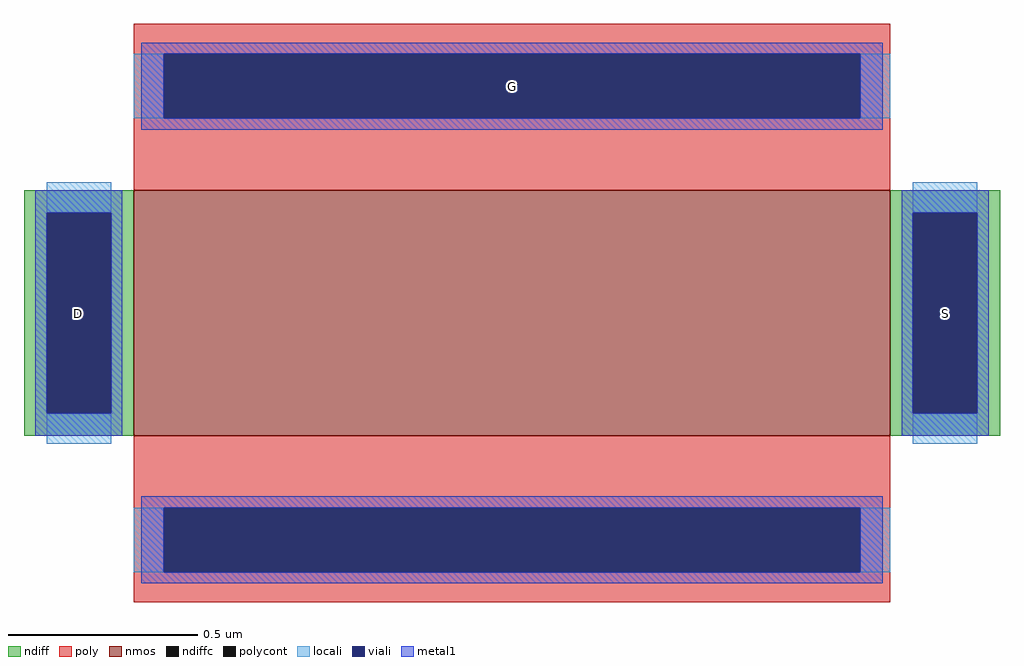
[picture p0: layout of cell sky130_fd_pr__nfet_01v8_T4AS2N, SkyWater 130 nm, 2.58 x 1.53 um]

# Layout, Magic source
magic
tech sky130A
magscale 1 2
<< nmos >>
rect -200 -65 200 65
<< ndiff >>
rect -258 53 -200 65
rect -258 -53 -246 53
rect -212 -53 -200 53
rect -258 -65 -200 -53
rect 200 53 258 65
rect 200 -53 212 53
rect 246 -53 258 53
rect 200 -65 258 -53
<< ndiffc >>
rect -246 -53 -212 53
rect 212 -53 246 53
<< poly >>
rect -200 137 200 153
rect -200 103 -184 137
rect 184 103 200 137
rect -200 65 200 103
rect -200 -103 200 -65
rect -200 -137 -184 -103
rect 184 -137 200 -103
rect -200 -153 200 -137
<< polycont >>
rect -184 103 184 137
rect -184 -137 184 -103
<< locali >>
rect -200 103 -184 137
rect 184 103 200 137
rect -246 53 -212 69
rect -246 -69 -212 -53
rect 212 53 246 69
rect 212 -69 246 -53
rect -200 -137 -184 -103
rect 184 -137 200 -103
<< viali >>
rect -184 103 184 137
rect -246 -53 -212 53
rect 212 -53 246 53
rect -184 -137 184 -103
<< metal1 >>
rect -196 137 196 143
rect -196 103 -184 137
rect 184 103 196 137
rect -196 97 196 103
rect -252 53 -206 65
rect -252 -53 -246 53
rect -212 -53 -206 53
rect -252 -65 -206 -53
rect 206 53 252 65
rect 206 -53 212 53
rect 246 -53 252 53
rect 206 -65 252 -53
rect -196 -103 196 -97
rect -196 -137 -184 -103
rect 184 -137 196 -103
rect -196 -143 196 -137
<< labels >>
rlabel ndiffc -229 0 -229 0 0 D
port 1 nsew
rlabel ndiffc 229 0 229 0 0 S
port 2 nsew
rlabel polycont 0 120 0 120 0 G
port 3 nsew
<< properties >>
string gencell sky130_fd_pr__nfet_01v8
string library sky130
string parameters w 0.65 l 2 m 1 nf 1 diffcov 100 polycov 100 guard 0 glc 0 grc 0 gtc 0 gbc 0 tbcov 100 rlcov 100 topc 1 botc 1 poverlap 0 doverlap 1 lmin 0.15 wmin 0.42 class mosfet compatible {sky130_fd_pr__nfet_01v8 sky130_fd_pr__nfet_01v8_lvt  sky130_fd_bs_flash__special_sonosfet_star  sky130_fd_pr__nfet_g5v0d10v5 sky130_fd_pr__nfet_05v0_nvt  sky130_fd_pr__nfet_03v3_nvt} full_metal 0 conn_gates 0 viasrc 100 viadrn 100 viagate 100 viagb 0 viagr 0 viagl 0 viagt 0 doports 1
<< end >>
